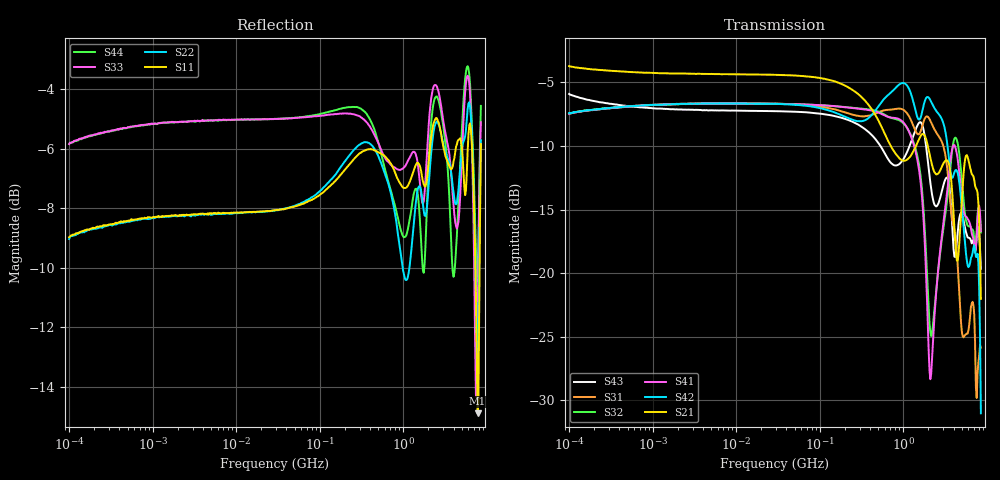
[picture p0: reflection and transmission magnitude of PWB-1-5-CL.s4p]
# MHz S MA R 50
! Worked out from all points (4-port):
!   498 points, 100 kHz to 8.5 GHz, reference 50 ohm
!   strongest paths, dB at 100 kHz, 1.698 MHz, 29.49 MHz, 500.7 MHz, 8.5 GHz:
!     S21: -3.7, -4.3, -4.4, -7.9, -22.0
!     S42: -7.4, -6.7, -6.7, -6.9, -31.0
!     S41: -7.5, -6.7, -6.7, -7.4, -16.7
!     S32: -7.4, -6.7, -6.7, -7.3, -16.8
!     S31: -7.5, -6.7, -6.7, -7.4, -25.9
!     S43: -5.9, -7.1, -7.3, -9.7, -19.6
!   lowest |S11| = -14.9 dB at 7.758 GHz (marker M1), VSWR 1.44, Z = 44.1 + j16.1 ohm
!   |S11| at or under -10 dB: 7.309 GHz to 8.205 GHz (896.4 MHz wide, 11.6 % of centre)
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0.1  0.356 11.4  0.6515 -6.3  0.4238 11.9  0.4229 -168.2
     0.6515 -6.3  0.3535 12.3  0.4248 -168.6  0.4261 11.4
     0.4238 11.9  0.4248 -168.6  0.5104 11.3  0.5065 -11.7
     0.4229 -168.2  0.4261 11.4  0.5065 -11.7  0.5105 11.5
309.9263  0.4934 -23.6  0.4959 -82.9  0.414 -33.3  0.442 88.7
          0.4959 -82.9  0.5108 -28.9  0.4441 89.2  0.3955 -27.7
          0.414 -33.3  0.4441 89.2  0.5663 -33.7  0.3783 -83.8
          0.442 88.7  0.3955 -27.7  0.3783 -83.8  0.5856 -38.3
906.6107  0.4395 -95.0  0.2821 119.0  0.4438 -95.9  0.4023 -50.1
          0.2821 119.0  0.3428 -108.7  0.3985 -50.7  0.5535 -88.4
          0.4438 -95.9  0.3985 -50.7  0.4618 -93.3  0.2693 111.6
          0.4023 -50.1  0.5535 -88.4  0.2693 111.6  0.372 -107.7
1970.81  0.4611 -148.1  0.3161 -129.8  0.412 154.6  0.06234 45.9
         0.3161 -129.8  0.417 -141.1  0.08396 39.6  0.4926 157.7
         0.412 154.6  0.08396 39.6  0.5218 -140.4  0.2755 -142.6
         0.06234 45.9  0.4926 157.7  0.2755 -142.6  0.4414 -134.8
5634.932  0.4271 -103.4  0.2895 -126.4  0.05754 161.5  0.1668 -162.5
          0.2895 -126.4  0.5395 -101.8  0.1618 -160.1  0.1196 122.4
          0.05754 161.5  0.1618 -160.1  0.6452 -96.6  0.1451 -130.7
          0.1668 -162.5  0.1196 122.4  0.1451 -130.7  0.6747 -103.0
7757.924  0.1801 100.4  0.2066 -28.8  0.04068 -15.0  0.164 -1.5
          0.2066 -28.8  0.2196 76.8  0.1712 8.5  0.1193 -89.5
          0.04068 -15.0  0.1712 8.5  0.2461 32.0  0.1524 26.7
          0.164 -1.5  0.1193 -89.5  0.1524 26.7  0.3003 68.6
8500  0.5102 -30.2  0.0793 -145.3  0.05094 -74.8  0.1464 -116.3
      0.0793 -145.3  0.5178 -36.7  0.1445 -100.8  0.02813 127.5
      0.05094 -74.8  0.1445 -100.8  0.5553 -43.7  0.1042 -86.3
      0.1464 -116.3  0.02813 127.5  0.1042 -86.3  0.5915 -45.1
